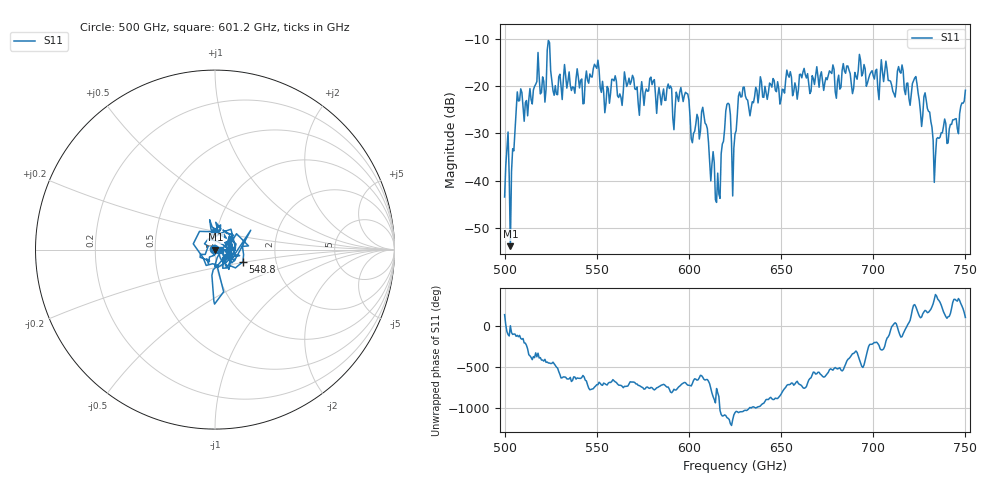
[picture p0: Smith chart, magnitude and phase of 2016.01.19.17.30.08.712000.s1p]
!Created with skrf (http://scikit-rf.org).
# GHz S RI R 50.0
!freq ReS11 ImS11
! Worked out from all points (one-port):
!   401 points, 500 GHz to 750 GHz, reference 50 ohm
!   lowest |S11| = -53.9 dB at 503.1 GHz (marker M1), VSWR 1.00, Z = 50.2 + j0.00403 ohm
!   |S11| at or under -10 dB: start of sweep to end of sweep
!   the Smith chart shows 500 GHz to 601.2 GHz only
!   S11 on the Smith chart (normalised r, x): 500 GHz: 0.99, +0.01; 548.8 GHz: 1.35, -0.19; 601.2 GHz: 1.06, -0.01
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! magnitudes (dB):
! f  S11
! 500 GHz  -43.5
! 503.1 GHz  -53.9
! 508.1 GHz  -23.1
! 521.2 GHz  -19.0
! 524.4 GHz  -10.8
! 527.5 GHz  -19.9
! 531.2 GHz  -22.9
! 541.9 GHz  -18.5
! 548.8 GHz  -15.4
! 562.5 GHz  -21.7
! 568.8 GHz  -19.0
! 593.8 GHz  -22.2
! 598.8 GHz  -21.5
! 601.2 GHz  -31.2
! 608.1 GHz  -26.1
! 615.6 GHz  -38.4
! 620.6 GHz  -23.9
! 625 GHz  -30.2
! 628.8 GHz  -22.2
! 656.2 GHz  -22.1
! 687.5 GHz  -17.4
! 705.6 GHz  -19.1
! 711.2 GHz  -21.6
! 715 GHz  -17.3
! 718.8 GHz  -19.4
! 728.8 GHz  -23.0
! 733.8 GHz  -34.9
! 750 GHz  -20.9
